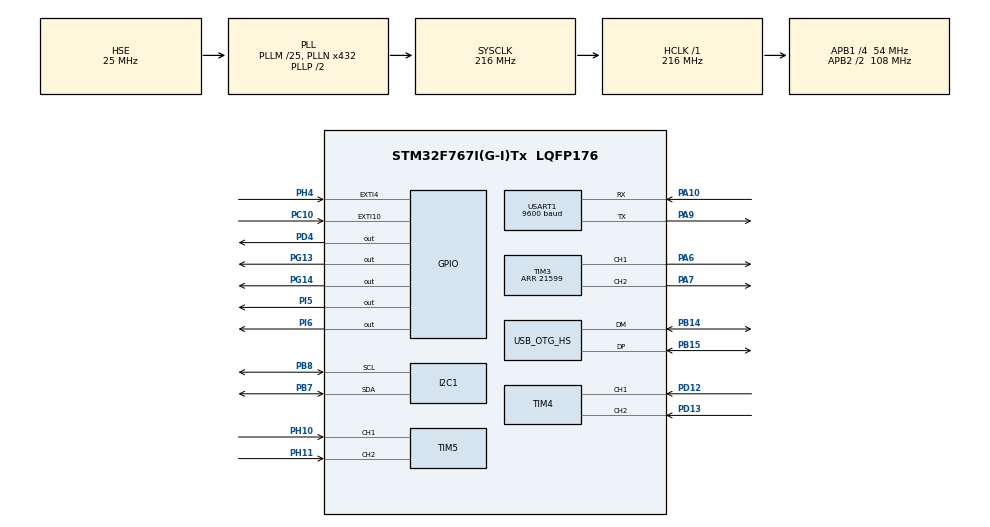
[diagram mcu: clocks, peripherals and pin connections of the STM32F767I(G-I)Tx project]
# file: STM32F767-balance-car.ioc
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I2C1.Timing=0x20404768
Mcu.Family=STM32F7
Mcu.Name=STM32F767I(G-I)Tx
Mcu.Package=LQFP176
NVIC.EXTI4_IRQn=true\:0\:0\:true\:false\:true\:true\:true\:true
NVIC.OTG_HS_IRQn=true\:0\:0\:false\:false\:true\:false\:true\:true
NVIC.PriorityGroup=NVIC_PRIORITYGROUP_4
NVIC.USART1_IRQn=true\:0\:0\:false\:false\:true\:true\:true\:true
PA10.Mode=Asynchronous
PA10.Signal=USART1_RX
PA13.Mode=Serial_Wire
PA13.Signal=SYS_JTMS-SWDIO
PA14.Mode=Serial_Wire
PA14.Signal=SYS_JTCK-SWCLK
PA6.Signal=S_TIM3_CH1
PA7.Signal=S_TIM3_CH2
PA9.Mode=Asynchronous
PA9.Signal=USART1_TX
PB14.Mode=Device_Only_FS
PB14.Signal=USB_OTG_HS_DM
PB15.Mode=Device_Only_FS
PB15.Signal=USB_OTG_HS_DP
PB7.Mode=I2C
PB7.Signal=I2C1_SDA
PB8.Mode=I2C
PB8.Signal=I2C1_SCL
PC10.Signal=GPXTI10
PC14/OSC32_IN.Mode=LSE-External-Oscillator
PC14/OSC32_IN.Signal=RCC_OSC32_IN
PC15/OSC32_OUT.Mode=LSE-External-Oscillator
PC15/OSC32_OUT.Signal=RCC_OSC32_OUT
PD12.Signal=S_TIM4_CH1
PD13.Signal=S_TIM4_CH2
PD4.PinState=GPIO_PIN_SET
PD4.Signal=GPIO_Output
PG13.Signal=GPIO_Output
PG14.Signal=GPIO_Output
PH0/OSC_IN.Mode=HSE-External-Oscillator
PH0/OSC_IN.Signal=RCC_OSC_IN
PH1/OSC_OUT.Mode=HSE-External-Oscillator
PH1/OSC_OUT.Signal=RCC_OSC_OUT
PH10.Signal=S_TIM5_CH1
PH11.Signal=S_TIM5_CH2
PH4.GPIO_ModeDefaultEXTI=GPIO_MODE_IT_FALLING
PH4.GPIO_PuPd=GPIO_PULLUP
PH4.Signal=GPXTI4
PI5.Signal=GPIO_Output
PI6.Signal=GPIO_Output
ProjectManager.HeapSize=0x1000
ProjectManager.StackSize=0x1000
ProjectManager.TargetToolchain=MDK-ARM V5.32
RCC.AHBFreq_Value=216000000
RCC.APB1CLKDivider=RCC_HCLK_DIV4
RCC.APB1Freq_Value=54000000
RCC.APB1TimFreq_Value=108000000
RCC.APB2CLKDivider=RCC_HCLK_DIV2
RCC.APB2Freq_Value=108000000
RCC.APB2TimFreq_Value=216000000
RCC.CortexFreq_Value=216000000
RCC.HCLKFreq_Value=216000000
RCC.HSE_VALUE=25000000
RCC.HSI_VALUE=16000000
RCC.PLL48CLockSelection=RCC_CLK48SOURCE_PLLSAIP
RCC.PLLM=25
RCC.PLLN=432
RCC.PLLQ=12
RCC.PLLSAIP=RCC_PLLSAIP_DIV4
RCC.SYSCLKFreq_VALUE=216000000
RCC.SYSCLKSource=RCC_SYSCLKSOURCE_PLLCLK
RCC.USBFreq_Value=48000000
RCC.VCOOutputFreq_Value=432000000
SH.S_TIM3_CH1.0=TIM3_CH1,PWM Generation1 CH1
SH.S_TIM3_CH2.0=TIM3_CH2,PWM Generation2 CH2
SH.S_TIM4_CH1.0=TIM4_CH1,Encoder_Interface
SH.S_TIM4_CH2.0=TIM4_CH2,Encoder_Interface
SH.S_TIM5_CH1.0=TIM5_CH1,Encoder_Interface
SH.S_TIM5_CH2.0=TIM5_CH2,Encoder_Interface
TIM3.Channel-PWM\ Generation1\ CH1=TIM_CHANNEL_1
TIM3.Channel-PWM\ Generation2\ CH2=TIM_CHANNEL_2
TIM3.Period=21599
TIM4.EncoderMode=TIM_ENCODERMODE_TI12
TIM5.EncoderMode=TIM_ENCODERMODE_TI12
USART1.BaudRate=9600
USART1.VirtualMode-Asynchronous=VM_ASYNC
USB_DEVICE.CLASS_NAME_HS=CDC
USB_DEVICE.VirtualMode-CDC_HS=Cdc
USB_DEVICE.VirtualModeHS=Cdc_HS
USB_OTG_HS.VirtualMode-Device_Only_FS=Device_Only_FS
VP_USB_DEVICE_VS_USB_DEVICE_CDC_HS.Mode=CDC_HS
board=custom

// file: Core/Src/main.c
/* USER CODE BEGIN Header */
/**
  ******************************************************************************
  * @file           : main.c
  * @brief          : Main program body
  ******************************************************************************
  * @attention
  *
  * Copyright (c) 2025 STMicroelectronics.
  * All rights reserved.
  *
  * This software is licensed under terms that can be found in the LICENSE file
  * in the root directory of this software component.
  * If no LICENSE file comes with this software, it is provided AS-IS.
  *
  ******************************************************************************
  */

	/*
	TIM3输出PWM控制速度
	TIM4 TIM5用于读取增量编码器
	IIC1接口读取MPU6050
	接线注释：
	MPU6050  VCC->>-5V GND->>-GND  SCL->>-PB8 SDA->>-PB7 INT->>-PH4 (IIC数字接口 数据处理完成中断)
	电机1  M+ ->>- AO2  M- ->>-AO1  VCC ->>- 3V3 GND ->>- GND B ->> E1B A ->>- E1A
	电机2  M+ ->>- BO1  M- ->>-BO2  VCC ->>- 3V3 GND ->>- GND B ->> E2B A ->>- E2A
	电机驱动板 STBY ->>- 3V3  PWMA ->>- PA6  PWMB ->>- PA7  (电机调节速度)
						E1A ->>- PD13 E1B ->>- PD12      (电机1增量编码器)
						E2A ->>- PH10 E2B ->>- PH11 		 (电机2增量编码器)
						5V ->>- 5V  GND ->>-GND 需要共地
						AIN1 ->>- PI5   AIN2 ->>- PI6    (控制电机1正反转)
						BIN1 ->>- PG13  BIN2 ->>- PG14   (控制电机2正反转)
	CH340等USB转串口模块 可连接PA9 PA10 读取串口信息，串口波特率115200
	*/

/* USER CODE END Header */
#include "main.h"
#include "i2c.h"
#include "tim.h"
#include "usart.h"
#include "usb_device.h"
#include "gpio.h"
#include "app_bluetooth.h"
/* USER CODE BEGIN Includes */
#include "mpu6050.h"
#include "motor.h"
#include "stdio.h"
#include "pid.h"
#include "usbd_cdc_if.h" // 包含 CDC 发送函数的声明
/* USER CODE END Includes */

/* USER CODE BEGIN PD */
uint8_t Rx1_Temp;

float pitch, roll, yaw;
short gx, gy, gz;
int32_t Motor_L_counter,Motor_R_counter;
int Vertical_out,Velocity_out,Turn_out;             //直立环&速度环&转向环的输出变量
int PWM_out,Motor_L_PWM,Motor_R_PWM;
_Bool MPU_Data_read_flag = 0;

//注意：设置为0时候使用串口1 引脚PA9(TX) PA10(RX) 需要使用USB转TTL模块（例如CH340）连接串口1引脚 才可使用printf 波特率9600 可连接蓝牙模块
//设置为1时候 使用板载usb mirco接口 虚拟USB接口，可进行printf函数打印进行数据监测
//请务必注意，当设置为1时，由于USB CDC特性导致，当且仅当使用xcom（或其他上位机软件）连接打开虚拟串口后程序才正常运行。
#define USB_CDC_PRINTF 0

//使用蓝牙模块连接需要配置#define USB_CDC_PRINTF 0
//使用亚博智能APP控制，请务必设置为		APP_BLE = 0
uint8_t  APP_BLE = 0;         //设置为0后请使用亚博智能app蓝牙连接，设置为1或其他可以使用蓝牙串口微信小程序（蓝牙串口）进行蓝牙连接 可以作为无线串口printf数据
//连接蓝牙模块，请使用5V供电，可使用电机驱动板的V out 5V供电，但需驱动板与核心板共地（GND ->>- GND）RX引脚连接PA9 TX引脚连接PA10

//小车运动指令
/*
//stop
$0,0,0,0,0,0,0,0,0,0#
//qian
$1,0,0,0,0,0,0,0,0,0#
//hou
$2,0,0,0,0,0,0,0,0,0#
//zuo
$3,0,0,0,0,0,0,0,0,0#
//you
$4,0,0,0,0,0,0,0,0,0#

设置PID参数指令  $0,0,0,0,1,1,1,AP8.0,AD5.8,VP4.0,VI1.5,TP3.0,TD50#
float Balance_Kp =800;
float Balance_Kd =5.8;
//速度环PI控制参数
float Velocity_Kp=400;
float Velocity_Ki=1.5;  //kp/200
//转向环PD控制参数
float Turn_Kp=300;
float Turn_Kd=50;

//查询PID指令
$0,0,1,0,0,0,0,0,0,0#

*/

/* USER CODE END PD */

void SystemClock_Config(void);

/* USER CODE BEGIN 0 */
#if USB_CDC_PRINTF
// 记得在 Target 选项中勾选 "Use MicroLIB" 以减小代码体积
int fputc(int ch, FILE *f)
{
    uint8_t result = USBD_OK;
    uint8_t temp[1] = {ch};

    do {
        // 调用 USB HS 发送函数
        result = CDC_Transmit_HS(temp, 1);
    } while (result == USBD_BUSY);

    return ch;
}

#else

#ifdef __GNUC__									/// 重定向 printf 到 USART1
#define PUTCHAR_PROTOTYPE int __io_putchar(int ch)
#else
#define PUTCHAR_PROTOTYPE int fputc(int ch, FILE *f)
#endif
PUTCHAR_PROTOTYPE
{
    HAL_UART_Transmit(&huart1 , (uint8_t *)&ch, 1, 0xFFFF);
    return ch;
}
#endif

void HAL_GPIO_EXTI_Callback(uint16_t GPIO_Pin)
{
    if(GPIO_Pin == GPIO_PIN_4) { MPU_Data_read_flag = 1;}//请不要在中断中调取硬件IIC读取 中断快进快出 请勿使用printf等阻塞型函数
}

/* USER CODE END 0 */

int main(void)
{

  /* MCU Configuration--------------------------------------------------------*/

  /* Reset of all peripherals, Initializes the Flash interface and the Systick. */
  HAL_Init();

  /* Configure the system clock */
  SystemClock_Config();

  /* Initialize all configured peripherals */
  MX_GPIO_Init();
  MX_USART1_UART_Init();
  MX_TIM4_Init();
  MX_TIM5_Init();
  MX_TIM3_Init();
  MX_I2C1_Init();
  MX_USB_DEVICE_Init();
  /* USER CODE BEGIN 2 */

	printf("AT+NAME YahBoom_BL\r\n");//原始蓝牙模块 名称 ，可以连接亚博智能APP进行控制，其他蓝牙名称APP不识别。
//  printf("AT+NAME BLE_CAR\r\n");//自定义蓝牙模块名称

  Init_PID();
	HAL_UART_Receive_IT(&huart1, &Rx1_Temp, 1);

  printf("MPU 6050 init start\n");
  if(MPU_Init() == 0) {printf("MPU 6050 init ok\n"); }
    else              {printf("MPU 6050 init fail\n");}
  printf("DMP library init start\n");
  if(mpu_dmp_init() == 0) {printf("DMP init ok\n"); }
    else                  {printf("DMP fail\n");}

   HAL_TIM_Base_Start(&htim3);//电机 PMW 定时器
	 HAL_TIM_Base_Start(&htim4);//编码器定时器初始化
	 HAL_TIM_Encoder_Start(&htim4, TIM_CHANNEL_ALL);
	 HAL_TIM_Base_Start(&htim5);//编码器定时器初始化
	 HAL_TIM_Encoder_Start(&htim5, TIM_CHANNEL_ALL);
	 printf("STM32_READY\r\n");
  /* USER CODE END 2 */

  /* Infinite loop */
  /* USER CODE BEGIN WHILE */
		//while函数内禁止使用HAL_Delay
  // printf("Hello STM32 Serial Is Working!\r\n");

		while (1)
  {
    /* USER CODE END WHILE */

    /* USER CODE BEGIN 3 */
    HAL_GPIO_TogglePin(GPIOD, GPIO_PIN_4);

	if (newLineReceived == 1)
        {
            // 第一步：把中断里的数据拷贝出来
            // 因为 inputString 随时会被新的中断修改，所以要先拷贝到 ProtocolString
            ProtocolCpyData();
            // 第二步：解析协议并执行动作
            Protocol();
        }
	if(MPU_Data_read_flag == 1)	//100hz MPU6050中断触发
    {
		MPU_Data_read_flag = 0;               //数据标志位
		mpu_dmp_get_data(&pitch, &roll, &yaw);//读取DMP数据 转换为姿态数据
        MPU_Get_Gyroscope(&gx, &gy, &gz);     //读取加速度

		Motor_L_counter = -(int32_t)__HAL_TIM_GET_COUNTER(&htim5);//读取增量式编码器数值
		Motor_R_counter = (int16_t)__HAL_TIM_GET_COUNTER(&htim4);
		__HAL_TIM_SET_COUNTER(&htim5,0);//清空编码器计数值
		__HAL_TIM_SET_COUNTER(&htim4,0);

		Vertical_out =  Balance_PD(pitch,gy);//
		Velocity_out = Velocity_PI(Motor_L_counter,Motor_R_counter);
		//Velocity_out = 0;
		Turn_out = Turn_PD(gz);

		PWM_out=Vertical_out + Velocity_out;

		Motor_L_PWM=PWM_out+Turn_out;                                             //左电机PWM
		Motor_R_PWM=PWM_out-Turn_out;                                             //右电机PWM

		motor_control_L(Motor_L_PWM);//Motor_L_PWM
		motor_control_R(Motor_R_PWM);//Motor_R_PWM

//	  printf("%.1f,%d,%d,%d,%d\n", pitch,gy,Vertical_out,Motor_L_counter,Motor_R_counter);
//printf("L:%d, R:%d\r\n", Motor_L_counter, Motor_R_counter);
//    printf("pitch:%.1f roll:%.1f yaw:%.1f x:%d y:%d z:%d\r\n", pitch, roll, yaw, gx, gy, gz);
  // printf("%.1f,%.1f,%.1f,%d,%d,%d\r\n", pitch, roll, yaw, gx, gy, gz);
    }
  }
  /* USER CODE END 3 */
}

void SystemClock_Config(void)
{
  RCC_OscInitTypeDef RCC_OscInitStruct = {0};
  RCC_ClkInitTypeDef RCC_ClkInitStruct = {0};

  /** Configure LSE Drive Capability
  */
  HAL_PWR_EnableBkUpAccess();

  /** Configure the main internal regulator output voltage
  */
  __HAL_RCC_PWR_CLK_ENABLE();
  __HAL_PWR_VOLTAGESCALING_CONFIG(PWR_REGULATOR_VOLTAGE_SCALE1);

  /** Initializes the RCC Oscillators according to the specified parameters
  * in the RCC_OscInitTypeDef structure.
  */
  RCC_OscInitStruct.OscillatorType = RCC_OSCILLATORTYPE_HSE;
  RCC_OscInitStruct.HSEState = RCC_HSE_ON;
  RCC_OscInitStruct.PLL.PLLState = RCC_PLL_ON;
  RCC_OscInitStruct.PLL.PLLSource = RCC_PLLSOURCE_HSE;
  RCC_OscInitStruct.PLL.PLLM = 25;
  RCC_OscInitStruct.PLL.PLLN = 432;
  RCC_OscInitStruct.PLL.PLLP = RCC_PLLP_DIV2;
  RCC_OscInitStruct.PLL.PLLQ = 12;
  RCC_OscInitStruct.PLL.PLLR = 2;
  if (HAL_RCC_OscConfig(&RCC_OscInitStruct) != HAL_OK)
  {
    Error_Handler();
  }

  /** Activate the Over-Drive mode
  */
  if (HAL_PWREx_EnableOverDrive() != HAL_OK)
  {
    Error_Handler();
  }

  /** Initializes the CPU, AHB and APB buses clocks
  */
  RCC_ClkInitStruct.ClockType = RCC_CLOCKTYPE_HCLK|RCC_CLOCKTYPE_SYSCLK
                              |RCC_CLOCKTYPE_PCLK1|RCC_CLOCKTYPE_PCLK2;
  RCC_ClkInitStruct.SYSCLKSource = RCC_SYSCLKSOURCE_PLLCLK;
  RCC_ClkInitStruct.AHBCLKDivider = RCC_SYSCLK_DIV1;
  RCC_ClkInitStruct.APB1CLKDivider = RCC_HCLK_DIV4;
  RCC_ClkInitStruct.APB2CLKDivider = RCC_HCLK_DIV2;

  if (HAL_RCC_ClockConfig(&RCC_ClkInitStruct, FLASH_LATENCY_7) != HAL_OK)
  {
    Error_Handler();
  }
}

void Error_Handler(void)
{
  __disable_irq();
  while (1)
  {
  }
}
